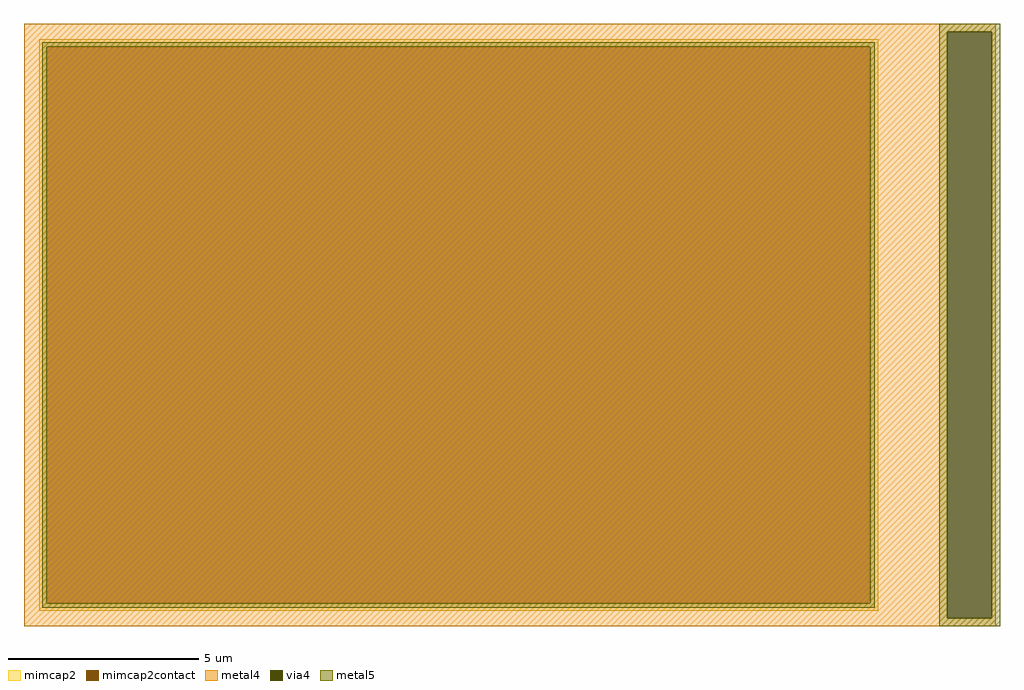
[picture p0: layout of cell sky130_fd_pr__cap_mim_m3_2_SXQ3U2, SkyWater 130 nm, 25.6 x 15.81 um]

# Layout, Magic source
magic
tech sky130A
magscale 1 2
<< metal4 >>
rect -2549 1539 2549 1580
rect -2549 -1539 2293 1539
rect 2529 -1539 2549 1539
rect -2549 -1580 2549 -1539
<< via4 >>
rect 2293 -1539 2529 1539
<< mimcap2 >>
rect -2469 1460 1931 1500
rect -2469 -1460 -2429 1460
rect 1891 -1460 1931 1460
rect -2469 -1500 1931 -1460
<< mimcap2contact >>
rect -2429 -1460 1891 1460
<< metal5 >>
rect 2251 1539 2571 1581
rect -2453 1460 1915 1484
rect -2453 -1460 -2429 1460
rect 1891 -1460 1915 1460
rect -2453 -1484 1915 -1460
rect 2251 -1539 2293 1539
rect 2529 -1539 2571 1539
rect 2251 -1581 2571 -1539
<< properties >>
string FIXED_BBOX -2549 -1580 2011 1580
string gencell sky130_fd_pr__cap_mim_m3_2
string library sky130
string parameters w 22 l 15 val 674.06 carea 2.00 cperi 0.19 nx 1 ny 1 dummy 0 square 0 lmin 2.00 wmin 2.00 lmax 30.0 wmax 30.0 dc 0 bconnect 1 tconnect 1 ccov 100
<< end >>
